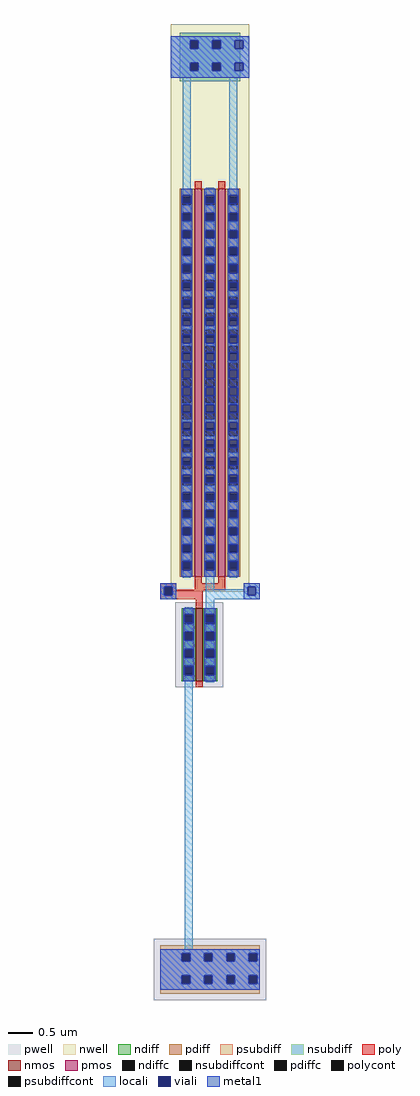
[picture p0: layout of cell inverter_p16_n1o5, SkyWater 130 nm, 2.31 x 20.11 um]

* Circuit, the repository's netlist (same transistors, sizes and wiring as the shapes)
* NGSPICE file created from inverter_p16_n1o5.ext - technology: sky130A

.subckt sky130_fd_pr__pfet_01v8_N885V5 a_63_n800# w_n161_n862# a_n33_n800# a_n63_n856#
+ a_n125_n800#
X0 a_n33_n800# a_n63_n856# a_n125_n800# w_n161_n862# sky130_fd_pr__pfet_01v8 ad=1.32 pd=8.33 as=2.48 ps=16.62 w=8 l=0.15
X1 a_63_n800# a_n63_n856# a_n33_n800# w_n161_n862# sky130_fd_pr__pfet_01v8 ad=2.48 pd=16.62 as=1.32 ps=8.33 w=8 l=0.15
.ends

.subckt sky130_fd_pr__nfet_01v8_PZUUQ8 a_15_n150# a_n15_n176# a_n73_n150# VSUBS
X0 a_15_n150# a_n15_n176# a_n73_n150# VSUBS sky130_fd_pr__nfet_01v8 ad=0.435 pd=3.58 as=0.435 ps=3.58 w=1.5 l=0.15
.ends

.subckt inverter_p16_n1o5 VDPWR Vout Vin VGND
Xsky130_fd_pr__pfet_01v8_N885V5_0 VDPWR VDPWR Vout Vin VDPWR sky130_fd_pr__pfet_01v8_N885V5
Xsky130_fd_pr__nfet_01v8_PZUUQ8_0 Vout Vin VGND VGND sky130_fd_pr__nfet_01v8_PZUUQ8
.ends

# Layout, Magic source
magic
tech sky130A
magscale 1 2
<< nwell >>
rect -44 2116 278 2734
rect 4 2110 38 2116
rect 196 2110 230 2116
rect -44 2108 278 2110
rect 4 2060 38 2108
rect 196 2060 230 2108
rect 306 388 322 402
<< pwell >>
rect -114 -1288 348 -1036
<< psubdiff >>
rect -88 -1095 322 -1062
rect -88 -1129 1 -1095
rect 35 -1129 93 -1095
rect 127 -1129 185 -1095
rect 219 -1129 277 -1095
rect 311 -1129 322 -1095
rect -88 -1187 322 -1129
rect -88 -1221 1 -1187
rect 35 -1221 93 -1187
rect 127 -1221 185 -1187
rect 219 -1221 277 -1187
rect 311 -1221 322 -1187
rect -88 -1262 322 -1221
<< nsubdiff >>
rect -8 2667 242 2698
rect -8 2633 35 2667
rect 69 2633 127 2667
rect 161 2633 242 2667
rect -8 2575 242 2633
rect -8 2541 35 2575
rect 69 2541 127 2575
rect 161 2541 242 2575
rect -8 2498 242 2541
<< psubdiffcont >>
rect 1 -1129 35 -1095
rect 93 -1129 127 -1095
rect 185 -1129 219 -1095
rect 277 -1129 311 -1095
rect 1 -1221 35 -1187
rect 93 -1221 127 -1187
rect 185 -1221 219 -1187
rect 277 -1221 311 -1187
<< nsubdiffcont >>
rect 35 2633 69 2667
rect 127 2633 161 2667
rect 35 2541 69 2575
rect 127 2541 161 2575
<< poly >>
rect -88 414 -22 430
rect -88 380 -72 414
rect -38 402 -22 414
rect -38 380 88 402
rect -88 364 88 380
rect 58 352 88 364
<< polycont >>
rect -72 380 -38 414
<< locali >>
rect -44 2667 278 2684
rect -44 2633 35 2667
rect 69 2633 127 2667
rect 161 2633 219 2667
rect 253 2633 278 2667
rect -44 2575 278 2633
rect -44 2541 35 2575
rect 69 2541 127 2575
rect 161 2541 219 2575
rect 253 2541 278 2575
rect -44 2512 278 2541
rect 4 2060 38 2512
rect 196 2060 230 2512
rect -88 414 -22 430
rect -88 380 -72 414
rect -38 380 -22 414
rect -88 364 -22 380
rect 100 404 134 452
rect 256 414 322 430
rect 256 404 272 414
rect 100 380 272 404
rect 306 380 322 414
rect 100 364 322 380
rect 100 330 134 364
rect 12 -1078 46 22
rect -88 -1095 322 -1078
rect -88 -1129 1 -1095
rect 35 -1129 93 -1095
rect 127 -1129 185 -1095
rect 219 -1129 277 -1095
rect 311 -1129 322 -1095
rect -88 -1187 322 -1129
rect -88 -1221 1 -1187
rect 35 -1221 93 -1187
rect 127 -1221 185 -1187
rect 219 -1221 277 -1187
rect 311 -1221 322 -1187
rect -88 -1246 322 -1221
<< viali >>
rect 35 2633 69 2667
rect 127 2633 161 2667
rect 219 2633 253 2667
rect 35 2541 69 2575
rect 127 2541 161 2575
rect 219 2541 253 2575
rect -72 380 -38 414
rect 272 380 306 414
rect 1 -1129 35 -1095
rect 93 -1129 127 -1095
rect 185 -1129 219 -1095
rect 277 -1129 311 -1095
rect 1 -1221 35 -1187
rect 93 -1221 127 -1187
rect 185 -1221 219 -1187
rect 277 -1221 311 -1187
<< metal1 >>
rect -44 2667 278 2684
rect -44 2633 35 2667
rect 69 2633 127 2667
rect 161 2633 219 2667
rect 253 2633 278 2667
rect -44 2575 278 2633
rect -44 2541 35 2575
rect 69 2541 127 2575
rect 161 2541 219 2575
rect 253 2541 278 2575
rect -44 2512 278 2541
rect -88 414 -22 430
rect -88 380 -72 414
rect -38 380 -22 414
rect -88 364 -22 380
rect 256 414 322 430
rect 256 380 272 414
rect 306 380 322 414
rect 256 364 322 380
rect -88 -1095 322 -1078
rect -88 -1129 1 -1095
rect 35 -1129 93 -1095
rect 127 -1129 185 -1095
rect 219 -1129 277 -1095
rect 311 -1129 322 -1095
rect -88 -1187 322 -1129
rect -88 -1221 1 -1187
rect 35 -1221 93 -1187
rect 127 -1221 185 -1187
rect 219 -1221 277 -1187
rect 311 -1221 322 -1187
rect -88 -1246 322 -1221
use sky130_fd_pr__nfet_01v8_PZUUQ8  sky130_fd_pr__nfet_01v8_PZUUQ8_0
transform 1 0 73 0 1 176
box -99 -176 99 176
use sky130_fd_pr__pfet_01v8_N885V5  sky130_fd_pr__pfet_01v8_N885V5_0
transform 1 0 117 0 1 1256
box -161 -862 161 862
<< end >>

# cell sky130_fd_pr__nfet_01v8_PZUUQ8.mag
magic
tech sky130A
magscale 1 2
<< pwell >>
rect -99 -176 99 176
<< nmos >>
rect -15 -150 15 150
<< ndiff >>
rect -73 119 -15 150
rect -73 85 -61 119
rect -27 85 -15 119
rect -73 51 -15 85
rect -73 17 -61 51
rect -27 17 -15 51
rect -73 -17 -15 17
rect -73 -51 -61 -17
rect -27 -51 -15 -17
rect -73 -85 -15 -51
rect -73 -119 -61 -85
rect -27 -119 -15 -85
rect -73 -150 -15 -119
rect 15 119 73 150
rect 15 85 27 119
rect 61 85 73 119
rect 15 51 73 85
rect 15 17 27 51
rect 61 17 73 51
rect 15 -17 73 17
rect 15 -51 27 -17
rect 61 -51 73 -17
rect 15 -85 73 -51
rect 15 -119 27 -85
rect 61 -119 73 -85
rect 15 -150 73 -119
<< ndiffc >>
rect -61 85 -27 119
rect -61 17 -27 51
rect -61 -51 -27 -17
rect -61 -119 -27 -85
rect 27 85 61 119
rect 27 17 61 51
rect 27 -51 61 -17
rect 27 -119 61 -85
<< poly >>
rect -15 150 15 176
rect -15 -176 15 -150
<< locali >>
rect -61 125 -27 154
rect -61 53 -27 85
rect -61 -17 -27 17
rect -61 -85 -27 -53
rect -61 -154 -27 -125
rect 27 125 61 154
rect 27 53 61 85
rect 27 -17 61 17
rect 27 -85 61 -53
rect 27 -154 61 -125
<< viali >>
rect -61 119 -27 125
rect -61 91 -27 119
rect -61 51 -27 53
rect -61 19 -27 51
rect -61 -51 -27 -19
rect -61 -53 -27 -51
rect -61 -119 -27 -91
rect -61 -125 -27 -119
rect 27 119 61 125
rect 27 91 61 119
rect 27 51 61 53
rect 27 19 61 51
rect 27 -51 61 -19
rect 27 -53 61 -51
rect 27 -119 61 -91
rect 27 -125 61 -119
<< metal1 >>
rect -67 125 -21 150
rect -67 91 -61 125
rect -27 91 -21 125
rect -67 53 -21 91
rect -67 19 -61 53
rect -27 19 -21 53
rect -67 -19 -21 19
rect -67 -53 -61 -19
rect -27 -53 -21 -19
rect -67 -91 -21 -53
rect -67 -125 -61 -91
rect -27 -125 -21 -91
rect -67 -150 -21 -125
rect 21 125 67 150
rect 21 91 27 125
rect 61 91 67 125
rect 21 53 67 91
rect 21 19 27 53
rect 61 19 67 53
rect 21 -19 67 19
rect 21 -53 27 -19
rect 61 -53 67 -19
rect 21 -91 67 -53
rect 21 -125 27 -91
rect 61 -125 67 -91
rect 21 -150 67 -125
<< end >>

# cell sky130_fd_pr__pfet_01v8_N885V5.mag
magic
tech sky130A
magscale 1 2
<< nwell >>
rect -161 -862 161 862
<< pmos >>
rect -63 -800 -33 800
rect 33 -800 63 800
<< pdiff >>
rect -125 765 -63 800
rect -125 731 -113 765
rect -79 731 -63 765
rect -125 697 -63 731
rect -125 663 -113 697
rect -79 663 -63 697
rect -125 629 -63 663
rect -125 595 -113 629
rect -79 595 -63 629
rect -125 561 -63 595
rect -125 527 -113 561
rect -79 527 -63 561
rect -125 493 -63 527
rect -125 459 -113 493
rect -79 459 -63 493
rect -125 425 -63 459
rect -125 391 -113 425
rect -79 391 -63 425
rect -125 357 -63 391
rect -125 323 -113 357
rect -79 323 -63 357
rect -125 289 -63 323
rect -125 255 -113 289
rect -79 255 -63 289
rect -125 221 -63 255
rect -125 187 -113 221
rect -79 187 -63 221
rect -125 153 -63 187
rect -125 119 -113 153
rect -79 119 -63 153
rect -125 85 -63 119
rect -125 51 -113 85
rect -79 51 -63 85
rect -125 17 -63 51
rect -125 -17 -113 17
rect -79 -17 -63 17
rect -125 -51 -63 -17
rect -125 -85 -113 -51
rect -79 -85 -63 -51
rect -125 -119 -63 -85
rect -125 -153 -113 -119
rect -79 -153 -63 -119
rect -125 -187 -63 -153
rect -125 -221 -113 -187
rect -79 -221 -63 -187
rect -125 -255 -63 -221
rect -125 -289 -113 -255
rect -79 -289 -63 -255
rect -125 -323 -63 -289
rect -125 -357 -113 -323
rect -79 -357 -63 -323
rect -125 -391 -63 -357
rect -125 -425 -113 -391
rect -79 -425 -63 -391
rect -125 -459 -63 -425
rect -125 -493 -113 -459
rect -79 -493 -63 -459
rect -125 -527 -63 -493
rect -125 -561 -113 -527
rect -79 -561 -63 -527
rect -125 -595 -63 -561
rect -125 -629 -113 -595
rect -79 -629 -63 -595
rect -125 -663 -63 -629
rect -125 -697 -113 -663
rect -79 -697 -63 -663
rect -125 -731 -63 -697
rect -125 -765 -113 -731
rect -79 -765 -63 -731
rect -125 -800 -63 -765
rect -33 765 33 800
rect -33 731 -17 765
rect 17 731 33 765
rect -33 697 33 731
rect -33 663 -17 697
rect 17 663 33 697
rect -33 629 33 663
rect -33 595 -17 629
rect 17 595 33 629
rect -33 561 33 595
rect -33 527 -17 561
rect 17 527 33 561
rect -33 493 33 527
rect -33 459 -17 493
rect 17 459 33 493
rect -33 425 33 459
rect -33 391 -17 425
rect 17 391 33 425
rect -33 357 33 391
rect -33 323 -17 357
rect 17 323 33 357
rect -33 289 33 323
rect -33 255 -17 289
rect 17 255 33 289
rect -33 221 33 255
rect -33 187 -17 221
rect 17 187 33 221
rect -33 153 33 187
rect -33 119 -17 153
rect 17 119 33 153
rect -33 85 33 119
rect -33 51 -17 85
rect 17 51 33 85
rect -33 17 33 51
rect -33 -17 -17 17
rect 17 -17 33 17
rect -33 -51 33 -17
rect -33 -85 -17 -51
rect 17 -85 33 -51
rect -33 -119 33 -85
rect -33 -153 -17 -119
rect 17 -153 33 -119
rect -33 -187 33 -153
rect -33 -221 -17 -187
rect 17 -221 33 -187
rect -33 -255 33 -221
rect -33 -289 -17 -255
rect 17 -289 33 -255
rect -33 -323 33 -289
rect -33 -357 -17 -323
rect 17 -357 33 -323
rect -33 -391 33 -357
rect -33 -425 -17 -391
rect 17 -425 33 -391
rect -33 -459 33 -425
rect -33 -493 -17 -459
rect 17 -493 33 -459
rect -33 -527 33 -493
rect -33 -561 -17 -527
rect 17 -561 33 -527
rect -33 -595 33 -561
rect -33 -629 -17 -595
rect 17 -629 33 -595
rect -33 -663 33 -629
rect -33 -697 -17 -663
rect 17 -697 33 -663
rect -33 -731 33 -697
rect -33 -765 -17 -731
rect 17 -765 33 -731
rect -33 -800 33 -765
rect 63 765 125 800
rect 63 731 79 765
rect 113 731 125 765
rect 63 697 125 731
rect 63 663 79 697
rect 113 663 125 697
rect 63 629 125 663
rect 63 595 79 629
rect 113 595 125 629
rect 63 561 125 595
rect 63 527 79 561
rect 113 527 125 561
rect 63 493 125 527
rect 63 459 79 493
rect 113 459 125 493
rect 63 425 125 459
rect 63 391 79 425
rect 113 391 125 425
rect 63 357 125 391
rect 63 323 79 357
rect 113 323 125 357
rect 63 289 125 323
rect 63 255 79 289
rect 113 255 125 289
rect 63 221 125 255
rect 63 187 79 221
rect 113 187 125 221
rect 63 153 125 187
rect 63 119 79 153
rect 113 119 125 153
rect 63 85 125 119
rect 63 51 79 85
rect 113 51 125 85
rect 63 17 125 51
rect 63 -17 79 17
rect 113 -17 125 17
rect 63 -51 125 -17
rect 63 -85 79 -51
rect 113 -85 125 -51
rect 63 -119 125 -85
rect 63 -153 79 -119
rect 113 -153 125 -119
rect 63 -187 125 -153
rect 63 -221 79 -187
rect 113 -221 125 -187
rect 63 -255 125 -221
rect 63 -289 79 -255
rect 113 -289 125 -255
rect 63 -323 125 -289
rect 63 -357 79 -323
rect 113 -357 125 -323
rect 63 -391 125 -357
rect 63 -425 79 -391
rect 113 -425 125 -391
rect 63 -459 125 -425
rect 63 -493 79 -459
rect 113 -493 125 -459
rect 63 -527 125 -493
rect 63 -561 79 -527
rect 113 -561 125 -527
rect 63 -595 125 -561
rect 63 -629 79 -595
rect 113 -629 125 -595
rect 63 -663 125 -629
rect 63 -697 79 -663
rect 113 -697 125 -663
rect 63 -731 125 -697
rect 63 -765 79 -731
rect 113 -765 125 -731
rect 63 -800 125 -765
<< pdiffc >>
rect -113 731 -79 765
rect -113 663 -79 697
rect -113 595 -79 629
rect -113 527 -79 561
rect -113 459 -79 493
rect -113 391 -79 425
rect -113 323 -79 357
rect -113 255 -79 289
rect -113 187 -79 221
rect -113 119 -79 153
rect -113 51 -79 85
rect -113 -17 -79 17
rect -113 -85 -79 -51
rect -113 -153 -79 -119
rect -113 -221 -79 -187
rect -113 -289 -79 -255
rect -113 -357 -79 -323
rect -113 -425 -79 -391
rect -113 -493 -79 -459
rect -113 -561 -79 -527
rect -113 -629 -79 -595
rect -113 -697 -79 -663
rect -113 -765 -79 -731
rect -17 731 17 765
rect -17 663 17 697
rect -17 595 17 629
rect -17 527 17 561
rect -17 459 17 493
rect -17 391 17 425
rect -17 323 17 357
rect -17 255 17 289
rect -17 187 17 221
rect -17 119 17 153
rect -17 51 17 85
rect -17 -17 17 17
rect -17 -85 17 -51
rect -17 -153 17 -119
rect -17 -221 17 -187
rect -17 -289 17 -255
rect -17 -357 17 -323
rect -17 -425 17 -391
rect -17 -493 17 -459
rect -17 -561 17 -527
rect -17 -629 17 -595
rect -17 -697 17 -663
rect -17 -765 17 -731
rect 79 731 113 765
rect 79 663 113 697
rect 79 595 113 629
rect 79 527 113 561
rect 79 459 113 493
rect 79 391 113 425
rect 79 323 113 357
rect 79 255 113 289
rect 79 187 113 221
rect 79 119 113 153
rect 79 51 113 85
rect 79 -17 113 17
rect 79 -85 113 -51
rect 79 -153 113 -119
rect 79 -221 113 -187
rect 79 -289 113 -255
rect 79 -357 113 -323
rect 79 -425 113 -391
rect 79 -493 113 -459
rect 79 -561 113 -527
rect 79 -629 113 -595
rect 79 -697 113 -663
rect 79 -765 113 -731
<< poly >>
rect -63 800 -33 830
rect 33 800 63 830
rect -63 -826 -33 -800
rect 33 -826 63 -800
rect -63 -856 63 -826
<< locali >>
rect -113 773 -79 804
rect -113 701 -79 731
rect -113 629 -79 663
rect -113 561 -79 595
rect -113 493 -79 523
rect -113 425 -79 451
rect -113 357 -79 379
rect -113 289 -79 307
rect -113 221 -79 235
rect -113 153 -79 163
rect -113 85 -79 91
rect -113 17 -79 19
rect -113 -19 -79 -17
rect -113 -91 -79 -85
rect -113 -163 -79 -153
rect -113 -235 -79 -221
rect -113 -307 -79 -289
rect -113 -379 -79 -357
rect -113 -451 -79 -425
rect -113 -523 -79 -493
rect -113 -595 -79 -561
rect -113 -663 -79 -629
rect -113 -731 -79 -701
rect -113 -804 -79 -773
rect -17 773 17 804
rect -17 701 17 731
rect -17 629 17 663
rect -17 561 17 595
rect -17 493 17 523
rect -17 425 17 451
rect -17 357 17 379
rect -17 289 17 307
rect -17 221 17 235
rect -17 153 17 163
rect -17 85 17 91
rect -17 17 17 19
rect -17 -19 17 -17
rect -17 -91 17 -85
rect -17 -163 17 -153
rect -17 -235 17 -221
rect -17 -307 17 -289
rect -17 -379 17 -357
rect -17 -451 17 -425
rect -17 -523 17 -493
rect -17 -595 17 -561
rect -17 -663 17 -629
rect -17 -731 17 -701
rect -17 -804 17 -773
rect 79 773 113 804
rect 79 701 113 731
rect 79 629 113 663
rect 79 561 113 595
rect 79 493 113 523
rect 79 425 113 451
rect 79 357 113 379
rect 79 289 113 307
rect 79 221 113 235
rect 79 153 113 163
rect 79 85 113 91
rect 79 17 113 19
rect 79 -19 113 -17
rect 79 -91 113 -85
rect 79 -163 113 -153
rect 79 -235 113 -221
rect 79 -307 113 -289
rect 79 -379 113 -357
rect 79 -451 113 -425
rect 79 -523 113 -493
rect 79 -595 113 -561
rect 79 -663 113 -629
rect 79 -731 113 -701
rect 79 -804 113 -773
<< viali >>
rect -113 765 -79 773
rect -113 739 -79 765
rect -113 697 -79 701
rect -113 667 -79 697
rect -113 595 -79 629
rect -113 527 -79 557
rect -113 523 -79 527
rect -113 459 -79 485
rect -113 451 -79 459
rect -113 391 -79 413
rect -113 379 -79 391
rect -113 323 -79 341
rect -113 307 -79 323
rect -113 255 -79 269
rect -113 235 -79 255
rect -113 187 -79 197
rect -113 163 -79 187
rect -113 119 -79 125
rect -113 91 -79 119
rect -113 51 -79 53
rect -113 19 -79 51
rect -113 -51 -79 -19
rect -113 -53 -79 -51
rect -113 -119 -79 -91
rect -113 -125 -79 -119
rect -113 -187 -79 -163
rect -113 -197 -79 -187
rect -113 -255 -79 -235
rect -113 -269 -79 -255
rect -113 -323 -79 -307
rect -113 -341 -79 -323
rect -113 -391 -79 -379
rect -113 -413 -79 -391
rect -113 -459 -79 -451
rect -113 -485 -79 -459
rect -113 -527 -79 -523
rect -113 -557 -79 -527
rect -113 -629 -79 -595
rect -113 -697 -79 -667
rect -113 -701 -79 -697
rect -113 -765 -79 -739
rect -113 -773 -79 -765
rect -17 765 17 773
rect -17 739 17 765
rect -17 697 17 701
rect -17 667 17 697
rect -17 595 17 629
rect -17 527 17 557
rect -17 523 17 527
rect -17 459 17 485
rect -17 451 17 459
rect -17 391 17 413
rect -17 379 17 391
rect -17 323 17 341
rect -17 307 17 323
rect -17 255 17 269
rect -17 235 17 255
rect -17 187 17 197
rect -17 163 17 187
rect -17 119 17 125
rect -17 91 17 119
rect -17 51 17 53
rect -17 19 17 51
rect -17 -51 17 -19
rect -17 -53 17 -51
rect -17 -119 17 -91
rect -17 -125 17 -119
rect -17 -187 17 -163
rect -17 -197 17 -187
rect -17 -255 17 -235
rect -17 -269 17 -255
rect -17 -323 17 -307
rect -17 -341 17 -323
rect -17 -391 17 -379
rect -17 -413 17 -391
rect -17 -459 17 -451
rect -17 -485 17 -459
rect -17 -527 17 -523
rect -17 -557 17 -527
rect -17 -629 17 -595
rect -17 -697 17 -667
rect -17 -701 17 -697
rect -17 -765 17 -739
rect -17 -773 17 -765
rect 79 765 113 773
rect 79 739 113 765
rect 79 697 113 701
rect 79 667 113 697
rect 79 595 113 629
rect 79 527 113 557
rect 79 523 113 527
rect 79 459 113 485
rect 79 451 113 459
rect 79 391 113 413
rect 79 379 113 391
rect 79 323 113 341
rect 79 307 113 323
rect 79 255 113 269
rect 79 235 113 255
rect 79 187 113 197
rect 79 163 113 187
rect 79 119 113 125
rect 79 91 113 119
rect 79 51 113 53
rect 79 19 113 51
rect 79 -51 113 -19
rect 79 -53 113 -51
rect 79 -119 113 -91
rect 79 -125 113 -119
rect 79 -187 113 -163
rect 79 -197 113 -187
rect 79 -255 113 -235
rect 79 -269 113 -255
rect 79 -323 113 -307
rect 79 -341 113 -323
rect 79 -391 113 -379
rect 79 -413 113 -391
rect 79 -459 113 -451
rect 79 -485 113 -459
rect 79 -527 113 -523
rect 79 -557 113 -527
rect 79 -629 113 -595
rect 79 -697 113 -667
rect 79 -701 113 -697
rect 79 -765 113 -739
rect 79 -773 113 -765
<< metal1 >>
rect -119 773 -73 800
rect -119 739 -113 773
rect -79 739 -73 773
rect -119 701 -73 739
rect -119 667 -113 701
rect -79 667 -73 701
rect -119 629 -73 667
rect -119 595 -113 629
rect -79 595 -73 629
rect -119 557 -73 595
rect -119 523 -113 557
rect -79 523 -73 557
rect -119 485 -73 523
rect -119 451 -113 485
rect -79 451 -73 485
rect -119 413 -73 451
rect -119 379 -113 413
rect -79 379 -73 413
rect -119 341 -73 379
rect -119 307 -113 341
rect -79 307 -73 341
rect -119 269 -73 307
rect -119 235 -113 269
rect -79 235 -73 269
rect -119 197 -73 235
rect -119 163 -113 197
rect -79 163 -73 197
rect -119 125 -73 163
rect -119 91 -113 125
rect -79 91 -73 125
rect -119 53 -73 91
rect -119 19 -113 53
rect -79 19 -73 53
rect -119 -19 -73 19
rect -119 -53 -113 -19
rect -79 -53 -73 -19
rect -119 -91 -73 -53
rect -119 -125 -113 -91
rect -79 -125 -73 -91
rect -119 -163 -73 -125
rect -119 -197 -113 -163
rect -79 -197 -73 -163
rect -119 -235 -73 -197
rect -119 -269 -113 -235
rect -79 -269 -73 -235
rect -119 -307 -73 -269
rect -119 -341 -113 -307
rect -79 -341 -73 -307
rect -119 -379 -73 -341
rect -119 -413 -113 -379
rect -79 -413 -73 -379
rect -119 -451 -73 -413
rect -119 -485 -113 -451
rect -79 -485 -73 -451
rect -119 -523 -73 -485
rect -119 -557 -113 -523
rect -79 -557 -73 -523
rect -119 -595 -73 -557
rect -119 -629 -113 -595
rect -79 -629 -73 -595
rect -119 -667 -73 -629
rect -119 -701 -113 -667
rect -79 -701 -73 -667
rect -119 -739 -73 -701
rect -119 -773 -113 -739
rect -79 -773 -73 -739
rect -119 -800 -73 -773
rect -23 773 23 800
rect -23 739 -17 773
rect 17 739 23 773
rect -23 701 23 739
rect -23 667 -17 701
rect 17 667 23 701
rect -23 629 23 667
rect -23 595 -17 629
rect 17 595 23 629
rect -23 557 23 595
rect -23 523 -17 557
rect 17 523 23 557
rect -23 485 23 523
rect -23 451 -17 485
rect 17 451 23 485
rect -23 413 23 451
rect -23 379 -17 413
rect 17 379 23 413
rect -23 341 23 379
rect -23 307 -17 341
rect 17 307 23 341
rect -23 269 23 307
rect -23 235 -17 269
rect 17 235 23 269
rect -23 197 23 235
rect -23 163 -17 197
rect 17 163 23 197
rect -23 125 23 163
rect -23 91 -17 125
rect 17 91 23 125
rect -23 53 23 91
rect -23 19 -17 53
rect 17 19 23 53
rect -23 -19 23 19
rect -23 -53 -17 -19
rect 17 -53 23 -19
rect -23 -91 23 -53
rect -23 -125 -17 -91
rect 17 -125 23 -91
rect -23 -163 23 -125
rect -23 -197 -17 -163
rect 17 -197 23 -163
rect -23 -235 23 -197
rect -23 -269 -17 -235
rect 17 -269 23 -235
rect -23 -307 23 -269
rect -23 -341 -17 -307
rect 17 -341 23 -307
rect -23 -379 23 -341
rect -23 -413 -17 -379
rect 17 -413 23 -379
rect -23 -451 23 -413
rect -23 -485 -17 -451
rect 17 -485 23 -451
rect -23 -523 23 -485
rect -23 -557 -17 -523
rect 17 -557 23 -523
rect -23 -595 23 -557
rect -23 -629 -17 -595
rect 17 -629 23 -595
rect -23 -667 23 -629
rect -23 -701 -17 -667
rect 17 -701 23 -667
rect -23 -739 23 -701
rect -23 -773 -17 -739
rect 17 -773 23 -739
rect -23 -800 23 -773
rect 73 773 119 800
rect 73 739 79 773
rect 113 739 119 773
rect 73 701 119 739
rect 73 667 79 701
rect 113 667 119 701
rect 73 629 119 667
rect 73 595 79 629
rect 113 595 119 629
rect 73 557 119 595
rect 73 523 79 557
rect 113 523 119 557
rect 73 485 119 523
rect 73 451 79 485
rect 113 451 119 485
rect 73 413 119 451
rect 73 379 79 413
rect 113 379 119 413
rect 73 341 119 379
rect 73 307 79 341
rect 113 307 119 341
rect 73 269 119 307
rect 73 235 79 269
rect 113 235 119 269
rect 73 197 119 235
rect 73 163 79 197
rect 113 163 119 197
rect 73 125 119 163
rect 73 91 79 125
rect 113 91 119 125
rect 73 53 119 91
rect 73 19 79 53
rect 113 19 119 53
rect 73 -19 119 19
rect 73 -53 79 -19
rect 113 -53 119 -19
rect 73 -91 119 -53
rect 73 -125 79 -91
rect 113 -125 119 -91
rect 73 -163 119 -125
rect 73 -197 79 -163
rect 113 -197 119 -163
rect 73 -235 119 -197
rect 73 -269 79 -235
rect 113 -269 119 -235
rect 73 -307 119 -269
rect 73 -341 79 -307
rect 113 -341 119 -307
rect 73 -379 119 -341
rect 73 -413 79 -379
rect 113 -413 119 -379
rect 73 -451 119 -413
rect 73 -485 79 -451
rect 113 -485 119 -451
rect 73 -523 119 -485
rect 73 -557 79 -523
rect 113 -557 119 -523
rect 73 -595 119 -557
rect 73 -629 79 -595
rect 113 -629 119 -595
rect 73 -667 119 -629
rect 73 -701 79 -667
rect 113 -701 119 -667
rect 73 -739 119 -701
rect 73 -773 79 -739
rect 113 -773 119 -739
rect 73 -800 119 -773
<< end >>
